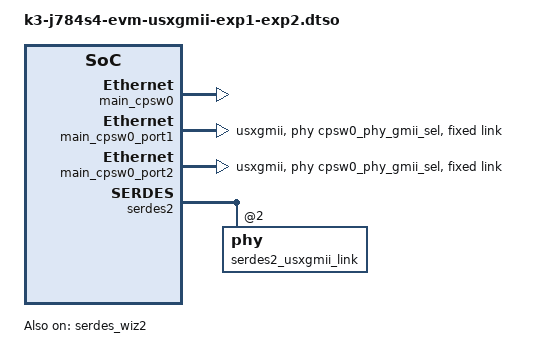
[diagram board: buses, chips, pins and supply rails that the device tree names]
/* SPDX-License-Identifier: GPL-2.0-only OR MIT */
/**
 * DT Overlay for CPSW9G in dual port fixed-link USXGMII mode using ENET-1
 * and ENET-2 Expansion slots of J784S4 EVM.
 *
 * Copyright (C) 2024 Texas Instruments Incorporated - https://www.ti.com/
 */

/dts-v1/;
/plugin/;

#include <dt-bindings/gpio/gpio.h>
#include <dt-bindings/phy/phy-cadence.h>
#include <dt-bindings/phy/phy.h>

#include "k3-serdes.h"

&{/} {
	aliases {
		ethernet1 = "/bus@100000/ethernet@c000000/ethernet-ports/port@1";
		ethernet2 = "/bus@100000/ethernet@c000000/ethernet-ports/port@2";
		ethernet3 = "/bus@100000/ethernet@c200000/ethernet-ports/port@1";
	};
};

&main_cpsw0 {
	status = "okay";
};

&main_cpsw0_port1 {
	phy-mode = "usxgmii";
	mac-address = [00 00 00 00 00 00];
	phys = <&cpsw0_phy_gmii_sel 1>, <&serdes2_usxgmii_link>;
	phy-names = "mac", "serdes";
	status = "okay";
	fixed-link {
		speed = <5000>;
		full-duplex;
	};
};

&main_cpsw0_port2 {
	phy-mode = "usxgmii";
	mac-address = [00 00 00 00 00 00];
	phys = <&cpsw0_phy_gmii_sel 2>, <&serdes2_usxgmii_link>;
	phy-names = "mac", "serdes";
	status = "okay";
	fixed-link {
		speed = <5000>;
		full-duplex;
	};
};

&serdes_wiz2 {
	assigned-clock-parents = <&k3_clks 406 9>; /* Use 156.25 MHz clock for USXGMII */
	status = "okay";
};

&serdes2 {
	#address-cells = <1>;
	#size-cells = <0>;
	status = "okay";

	serdes2_usxgmii_link: phy@2 {
		reg = <2>;
		cdns,num-lanes = <2>;
		#phy-cells = <0>;
		cdns,phy-type = <PHY_TYPE_USXGMII>;
		resets = <&serdes_wiz2 3>, <&serdes_wiz2 4>;
	};
};

&serdes_ln_ctrl {
	idle-states = <J784S4_SERDES0_LANE0_PCIE1_LANE0>, <J784S4_SERDES0_LANE1_PCIE1_LANE1>,
		      <J784S4_SERDES0_LANE2_IP3_UNUSED>, <J784S4_SERDES0_LANE3_USB>,
		      <J784S4_SERDES1_LANE0_PCIE0_LANE0>, <J784S4_SERDES1_LANE1_PCIE0_LANE1>,
		      <J784S4_SERDES1_LANE2_PCIE0_LANE2>, <J784S4_SERDES1_LANE3_PCIE0_LANE3>,
		      <J784S4_SERDES2_LANE0_IP2_UNUSED>, <J784S4_SERDES2_LANE1_IP2_UNUSED>,
		      <J784S4_SERDES2_LANE2_QSGMII_LANE1>, <J784S4_SERDES2_LANE3_QSGMII_LANE2>;
};
